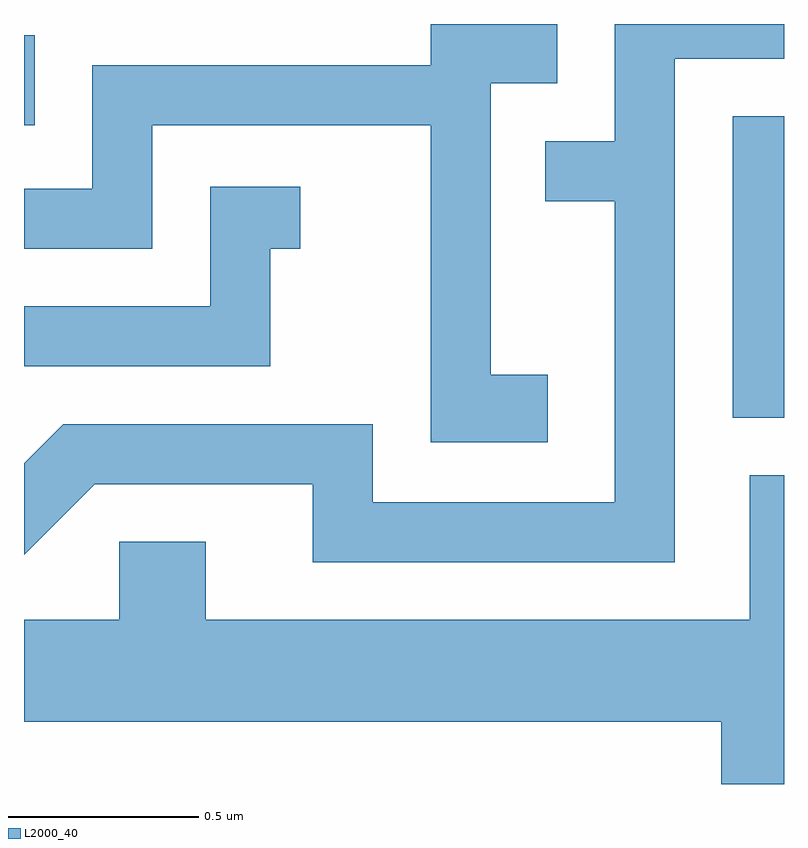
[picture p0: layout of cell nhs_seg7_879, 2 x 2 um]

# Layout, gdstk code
import gdstk
lib = gdstk.Library(unit=1e-6, precision=1e-09)
def R(c, l, rs):  # rectangles x0, y0, x1, y1
    for r in rs: c.add(gdstk.rectangle(r[:2], r[2:], *l))
def P(c, l, *ps):  # polygons
    for p in ps: c.add(gdstk.Polygon(p, *l))
L2000_40 = (2000, 40)

nhs_seg7_879 = lib.new_cell('nhs_seg7_879')
R(nhs_seg7_879, L2000_40, [(193.476,1726.216,193.611,1727.009), (191.611,1726.986,191.639,1727.223)])
P(nhs_seg7_879, L2000_40, [(192.989,1726.329),(192.839,1726.329),(192.839,1727.096),(193.014,1727.096),(193.014,1727.252),(192.681,1727.252),(192.681,1727.144),(191.791,1727.144),(191.791,1726.819),(191.611,1726.819),(191.611,1726.661),(191.949,1726.661),(191.949,1726.986),(192.681,1726.986),(192.681,1726.151),(192.989,1726.151)],
  [(193.324,1727.161),(193.611,1727.161),(193.611,1727.252),(193.166,1727.252),(193.166,1726.944),(192.983,1726.944),(192.983,1726.786),(193.166,1726.786),(193.166,1725.994),(192.529,1725.994),(192.529,1726.199),(191.714,1726.199),(191.611,1726.096),(191.611,1725.855),(191.797,1726.041),(192.371,1726.041),(192.371,1725.836),(193.324,1725.836)],
  [(192.259,1726.661),(192.338,1726.661),(192.338,1726.824),(192.101,1726.824),(192.101,1726.509),(191.611,1726.509),(191.611,1726.351),(192.259,1726.351)],
  [(193.611,1726.064),(193.521,1726.064),(193.521,1725.684),(192.089,1725.684),(192.089,1725.889),(191.861,1725.889),(191.861,1725.684),(191.611,1725.684),(191.611,1725.416),(193.446,1725.416),(193.446,1725.252),(193.611,1725.252)])

lib.write_gds('nhs_seg7_879.gds')
